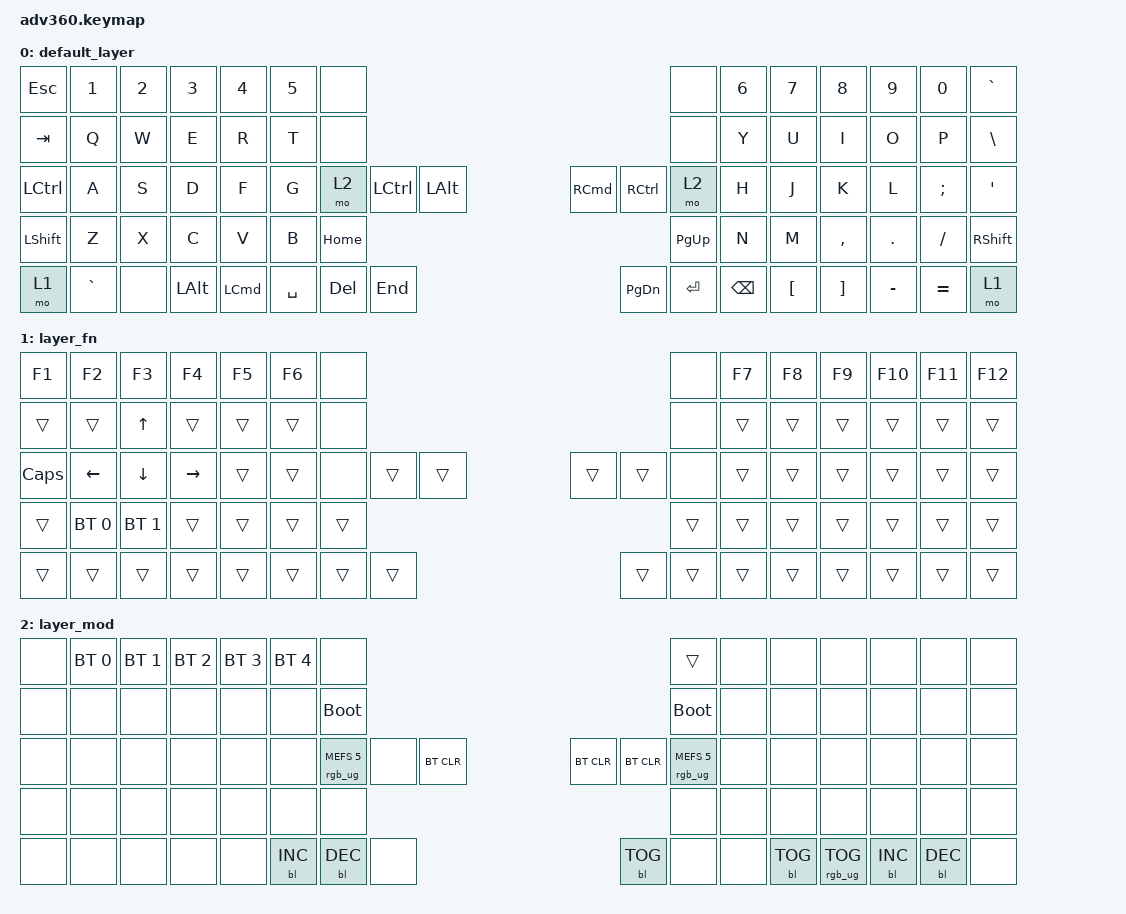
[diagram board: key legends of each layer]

/*
 * Copyright (c) 2020 The ZMK Contributors
 *
 * SPDX-License-Identifier: MIT
 */


/* THIS FILE WAS GENERATED!
 *
 * This file was generated automatically. You may or may not want to
 * edit it directly.
 */

#include <behaviors.dtsi>
#include <dt-bindings/zmk/keys.h>
#include <dt-bindings/zmk/bt.h>
#include <dt-bindings/zmk/rgb.h>
#include <dt-bindings/zmk/backlight.h>

/ {
  behaviors {
    #include "macros.dtsi"

    hm: homerow_mods {
        compatible = "zmk,behavior-hold-tap";
        label = "HOMEROW_MODS";
        #binding-cells = <2>;
        tapping-term-ms = <200>;
        quick_tap_ms = <175>;
        flavor = "tap-preferred";
        bindings = <&kp>, <&kp>;
    };
  };

    keymap {
        compatible = "zmk,keymap";


        default_layer {
            bindings = <
   &kp ESC     &kp N1  &kp N2        &kp N3            &kp N4  &kp N5                &none                                                                             &none  &kp N6            &kp N7             &kp N8     &kp N9     &kp N0  &kp GRAVE
   &kp TAB      &kp Q   &kp W         &kp E             &kp R   &kp T                &none                                                                             &none   &kp Y             &kp U              &kp I      &kp O      &kp P   &kp BSLH
 &kp LCTRL      &kp A   &kp S         &kp D             &kp F   &kp G                &mo 2  &kp LCTRL  &kp LALT                  &kp RIGHT_COMMAND  &kp RCTRL          &mo 2   &kp H             &kp J              &kp K      &kp L   &kp SEMI    &kp SQT
 &kp LSHFT      &kp Z   &kp X         &kp C             &kp V   &kp B                                  &kp HOME                          &kp PG_UP                             &kp N             &kp M          &kp COMMA    &kp DOT   &kp FSLH  &kp RSHFT
     &mo 1  &kp GRAVE   &none  &kp LEFT_ALT  &kp LEFT_COMMAND                    &kp SPACE    &kp DEL   &kp END                          &kp PG_DN  &kp ENTER  &kp BACKSPACE          &kp LEFT_BRACKET  &kp RIGHT_BRACKET  &kp MINUS  &kp EQUAL      &mo 1
            >;
        };

        layer_fn {
            bindings = <
   &kp F1          &kp F2          &kp F3           &kp F4  &kp F5  &kp F6             &none                                                   &none  &kp F7  &kp F8  &kp F9  &kp F10  &kp F11  &kp F12
   &trans          &trans    &kp UP_ARROW           &trans  &trans  &trans             &none                                                   &none  &trans  &trans  &trans   &trans   &trans   &trans
 &kp CAPS  &kp LEFT_ARROW  &kp DOWN_ARROW  &kp RIGHT_ARROW  &trans  &trans             &none  &trans  &trans                  &trans  &trans   &none  &trans  &trans  &trans   &trans   &trans   &trans
   &trans    &bt BT_SEL 0    &bt BT_SEL 1           &trans  &trans  &trans                            &trans                  &trans                  &trans  &trans  &trans   &trans   &trans   &trans
   &trans          &trans          &trans           &trans  &trans                    &trans  &trans  &trans                  &trans  &trans  &trans          &trans  &trans   &trans   &trans   &trans
            >;
        };

        layer_mod {
            bindings = <
  &none  &bt BT_SEL 0  &bt BT_SEL 1  &bt BT_SEL 2  &bt BT_SEL 3  &bt BT_SEL 4                             &none                                                                                  &trans   &none       &none            &none       &none       &none   &none
  &none         &none         &none         &none         &none         &none                       &bootloader                                                                             &bootloader   &none       &none            &none       &none       &none   &none
  &none         &none         &none         &none         &none         &none            &rgb_ug RGB_MEFS_CMD 5       &none  &bt BT_CLR                  &bt BT_CLR  &bt BT_CLR  &rgb_ug RGB_MEFS_CMD 5   &none       &none            &none       &none       &none   &none
  &none         &none         &none         &none         &none         &none                                                     &none                       &none                                       &none       &none            &none       &none       &none   &none
  &none         &none         &none         &none         &none                                      &bl BL_INC  &bl BL_DEC       &none                  &bl BL_TOG       &none                   &none          &bl BL_TOG  &rgb_ug RGB_TOG  &bl BL_INC  &bl BL_DEC   &none
            >;
        };

    };
};
